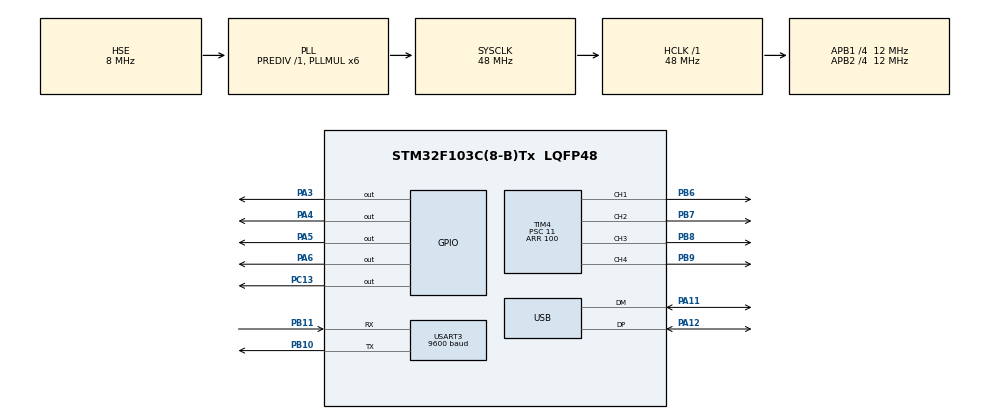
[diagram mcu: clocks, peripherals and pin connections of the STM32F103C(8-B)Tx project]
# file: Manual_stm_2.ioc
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Mcu.Family=STM32F1
Mcu.Name=STM32F103C(8-B)Tx
Mcu.Package=LQFP48
NVIC.PriorityGroup=NVIC_PRIORITYGROUP_4
NVIC.TIM3_IRQn=true\:0\:0\:false\:false\:true\:true\:true\:true
NVIC.USART3_IRQn=true\:0\:0\:false\:false\:true\:true\:true\:true
NVIC.USB_LP_CAN1_RX0_IRQn=true\:0\:0\:false\:false\:true\:false\:true\:true
PA11.Mode=Device
PA11.Signal=USB_DM
PA12.Mode=Device
PA12.Signal=USB_DP
PA13.Mode=Serial_Wire
PA13.Signal=SYS_JTMS-SWDIO
PA14.Mode=Serial_Wire
PA14.Signal=SYS_JTCK-SWCLK
PA3.Signal=GPIO_Output
PA4.Signal=GPIO_Output
PA5.Signal=GPIO_Output
PA6.Signal=GPIO_Output
PB10.Mode=Asynchronous
PB10.Signal=USART3_TX
PB11.Mode=Asynchronous
PB11.Signal=USART3_RX
PB6.Signal=S_TIM4_CH1
PB7.Signal=S_TIM4_CH2
PB8.Signal=S_TIM4_CH3
PB9.Signal=S_TIM4_CH4
PC13-TAMPER-RTC.Signal=GPIO_Output
PD0-OSC_IN.Mode=HSE-External-Oscillator
PD0-OSC_IN.Signal=RCC_OSC_IN
PD1-OSC_OUT.Mode=HSE-External-Oscillator
PD1-OSC_OUT.Signal=RCC_OSC_OUT
ProjectManager.HeapSize=0x200
ProjectManager.StackSize=0x400
ProjectManager.TargetToolchain=MDK-ARM V5.32
RCC.AHBFreq_Value=48000000
RCC.APB1CLKDivider=RCC_HCLK_DIV4
RCC.APB1Freq_Value=12000000
RCC.APB1TimFreq_Value=24000000
RCC.APB2CLKDivider=RCC_HCLK_DIV4
RCC.APB2Freq_Value=12000000
RCC.APB2TimFreq_Value=24000000
RCC.HCLKFreq_Value=48000000
RCC.PLLMUL=RCC_PLL_MUL6
RCC.PLLSourceVirtual=RCC_PLLSOURCE_HSE
RCC.SYSCLKFreq_VALUE=48000000
RCC.SYSCLKSource=RCC_SYSCLKSOURCE_PLLCLK
RCC.USBFreq_Value=48000000
SH.S_TIM4_CH1.0=TIM4_CH1,PWM Generation1 CH1
SH.S_TIM4_CH2.0=TIM4_CH2,PWM Generation2 CH2
SH.S_TIM4_CH3.0=TIM4_CH3,PWM Generation3 CH3
SH.S_TIM4_CH4.0=TIM4_CH4,PWM Generation4 CH4
TIM3.Period=4
TIM3.Prescaler=23999
TIM4.Channel-PWM\ Generation1\ CH1=TIM_CHANNEL_1
TIM4.Channel-PWM\ Generation2\ CH2=TIM_CHANNEL_2
TIM4.Channel-PWM\ Generation3\ CH3=TIM_CHANNEL_3
TIM4.Channel-PWM\ Generation4\ CH4=TIM_CHANNEL_4
TIM4.Period=100
TIM4.Prescaler=11
USART3.BaudRate=9600
USART3.VirtualMode=VM_ASYNC
USB_DEVICE.CLASS_NAME_FS=CDC
USB_DEVICE.VirtualMode=Cdc
USB_DEVICE.VirtualModeFS=Cdc_FS
VP_TIM3_VS_ClockSourceINT.Mode=Internal
VP_USB_DEVICE_VS_USB_DEVICE_CDC_FS.Mode=CDC_FS
board=custom

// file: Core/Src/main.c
/* USER CODE BEGIN Header */
/**
  ******************************************************************************
  * @file           : main.c
  * @brief          : Main program body
  ******************************************************************************
  * @attention
  *
  * Copyright (c) 2023 STMicroelectronics.
  * All rights reserved.
  *
  * This software is licensed under terms that can be found in the LICENSE file
  * in the root directory of this software component.
  * If no LICENSE file comes with this software, it is provided AS-IS.
  *
  ******************************************************************************
  */

	/* 	Author: Chi */
	/* 	Right motor:
				R_EN			- PA6
				L_EN			- PA5
				R_PWM			-	PB9
				L_PWM			- PB8
			Left motor:
				R_EN			- PA3
				L_EN			- PA4
				R_PWM			-	PB6
				L_PWM			- PB7
	*/
/* USER CODE END Header */
#include "main.h"
#include "usb_device.h"

/* USER CODE BEGIN Includes */
#include "usbd_cdc_if.h"
/* USER CODE END Includes */

/* USER CODE BEGIN PD */
#define MANUAL_MODE				0
#define AUTO_MODE					1
/* USER CODE END PD */

TIM_HandleTypeDef htim3;
TIM_HandleTypeDef htim4;

UART_HandleTypeDef huart3;

/* USER CODE BEGIN PV */
char Rx_indx, Rx_Buffer[20],Rx_data[2];
int ShootVel;
uint8_t RunSystem;
int 			mode											= 0;
uint8_t		EnablePickup_Auto					= 0;
uint8_t		EnablePickup_Manual				= 0;
uint8_t 	buffer[64];
/* USER CODE END PV */

void SystemClock_Config(void);
static void MX_GPIO_Init(void);
static void MX_TIM4_Init(void);
static void MX_USART3_UART_Init(void);
static void MX_TIM3_Init(void);

/* USER CODE BEGIN 0 */
void HAL_UART_RxCpltCallback(UART_HandleTypeDef *huart)
	{
		uint8_t i;
		if(huart->Instance == USART3) //uart3
		{
		switch(Rx_data[0]) {
						case 'a': // auto mode
							mode = AUTO_MODE;
								break;
						case 'm': // manual mode
							mode = MANUAL_MODE;
								break;
						case '7':
								RunSystem = 1;
                break;
						case '8':
								RunSystem = 0;
                break;
            case '5':
								EnablePickup_Manual = 1;
                break;
						case '6':
								EnablePickup_Manual = 0;
                break;

            default:
                break;
        }
				HAL_UART_Receive_IT(&huart3,(uint8_t*)Rx_data,1);
		}
	}

// Control
void MotorLeftRot(int32_t pwmSet)
{
	HAL_GPIO_WritePin(GPIOA, GPIO_PIN_3, 1);
	HAL_GPIO_WritePin(GPIOA, GPIO_PIN_4, 1);
	if (pwmSet > 0) {
		__HAL_TIM_SetCompare(&htim4, TIM_CHANNEL_1, pwmSet);
		__HAL_TIM_SetCompare(&htim4, TIM_CHANNEL_2, 0);
	}
	else if (pwmSet < 0) {
		__HAL_TIM_SetCompare(&htim4, TIM_CHANNEL_1,0);
		__HAL_TIM_SetCompare(&htim4, TIM_CHANNEL_2, -pwmSet);
	}
	else{
		HAL_GPIO_WritePin(GPIOA, GPIO_PIN_3, 0);
		HAL_GPIO_WritePin(GPIOA, GPIO_PIN_4, 0);
	}
}
void MotorRightRot(int32_t pwmSet)
{
	HAL_GPIO_WritePin(GPIOA, GPIO_PIN_5, 1);
	HAL_GPIO_WritePin(GPIOA, GPIO_PIN_6, 1);
	if (pwmSet > 0) {
		__HAL_TIM_SetCompare(&htim4, TIM_CHANNEL_3, pwmSet);
		__HAL_TIM_SetCompare(&htim4, TIM_CHANNEL_4, 0);
	}
	else if (pwmSet < 0) {
		__HAL_TIM_SetCompare(&htim4, TIM_CHANNEL_3,0);
		__HAL_TIM_SetCompare(&htim4, TIM_CHANNEL_4, -pwmSet);
	}
	else{
		HAL_GPIO_WritePin(GPIOA, GPIO_PIN_5, 0);
		HAL_GPIO_WritePin(GPIOA, GPIO_PIN_6, 0);
	}
}
/* USER CODE END 0 */

int main(void)
{

  /* MCU Configuration--------------------------------------------------------*/

  /* Reset of all peripherals, Initializes the Flash interface and the Systick. */
  HAL_Init();

  /* Configure the system clock */
  SystemClock_Config();

  /* Initialize all configured peripherals */
  MX_GPIO_Init();
  MX_TIM4_Init();
  MX_USART3_UART_Init();
  MX_TIM3_Init();
  MX_USB_DEVICE_Init();
  /* USER CODE BEGIN 2 */
	HAL_TIM_PWM_Start(&htim4, TIM_CHANNEL_1);	// start  timer 1
	HAL_TIM_PWM_Start(&htim4, TIM_CHANNEL_2);	// start 	timer 1
	HAL_TIM_PWM_Start(&htim4, TIM_CHANNEL_3);	// start  timer 1
	HAL_TIM_PWM_Start(&htim4, TIM_CHANNEL_4);	// start 	timer 1
	HAL_UART_Receive_IT(&huart3,(uint8_t*)Rx_data,1);
	HAL_TIM_Base_Start_IT(&htim3);						// start  timer 3
  /* USER CODE END 2 */

  /* Infinite loop */
  while (1)
  {

  }
}

void SystemClock_Config(void)
{
  RCC_OscInitTypeDef RCC_OscInitStruct = {0};
  RCC_ClkInitTypeDef RCC_ClkInitStruct = {0};
  RCC_PeriphCLKInitTypeDef PeriphClkInit = {0};

  /** Initializes the RCC Oscillators according to the specified parameters
  * in the RCC_OscInitTypeDef structure.
  */
  RCC_OscInitStruct.OscillatorType = RCC_OSCILLATORTYPE_HSE;
  RCC_OscInitStruct.HSEState = RCC_HSE_ON;
  RCC_OscInitStruct.HSEPredivValue = RCC_HSE_PREDIV_DIV1;
  RCC_OscInitStruct.HSIState = RCC_HSI_ON;
  RCC_OscInitStruct.PLL.PLLState = RCC_PLL_ON;
  RCC_OscInitStruct.PLL.PLLSource = RCC_PLLSOURCE_HSE;
  RCC_OscInitStruct.PLL.PLLMUL = RCC_PLL_MUL6;
  if (HAL_RCC_OscConfig(&RCC_OscInitStruct) != HAL_OK)
  {
    Error_Handler();
  }

  /** Initializes the CPU, AHB and APB buses clocks
  */
  RCC_ClkInitStruct.ClockType = RCC_CLOCKTYPE_HCLK|RCC_CLOCKTYPE_SYSCLK
                              |RCC_CLOCKTYPE_PCLK1|RCC_CLOCKTYPE_PCLK2;
  RCC_ClkInitStruct.SYSCLKSource = RCC_SYSCLKSOURCE_PLLCLK;
  RCC_ClkInitStruct.AHBCLKDivider = RCC_SYSCLK_DIV1;
  RCC_ClkInitStruct.APB1CLKDivider = RCC_HCLK_DIV4;
  RCC_ClkInitStruct.APB2CLKDivider = RCC_HCLK_DIV4;

  if (HAL_RCC_ClockConfig(&RCC_ClkInitStruct, FLASH_LATENCY_1) != HAL_OK)
  {
    Error_Handler();
  }
  PeriphClkInit.PeriphClockSelection = RCC_PERIPHCLK_USB;
  PeriphClkInit.UsbClockSelection = RCC_USBCLKSOURCE_PLL;
  if (HAL_RCCEx_PeriphCLKConfig(&PeriphClkInit) != HAL_OK)
  {
    Error_Handler();
  }
}

static void MX_TIM3_Init(void)
{

  TIM_ClockConfigTypeDef sClockSourceConfig = {0};
  TIM_MasterConfigTypeDef sMasterConfig = {0};

  htim3.Instance = TIM3;
  htim3.Init.Prescaler = 23999;
  htim3.Init.CounterMode = TIM_COUNTERMODE_UP;
  htim3.Init.Period = 4;
  htim3.Init.ClockDivision = TIM_CLOCKDIVISION_DIV1;
  htim3.Init.AutoReloadPreload = TIM_AUTORELOAD_PRELOAD_DISABLE;
  if (HAL_TIM_Base_Init(&htim3) != HAL_OK)
  {
    Error_Handler();
  }
  sClockSourceConfig.ClockSource = TIM_CLOCKSOURCE_INTERNAL;
  if (HAL_TIM_ConfigClockSource(&htim3, &sClockSourceConfig) != HAL_OK)
  {
    Error_Handler();
  }
  sMasterConfig.MasterOutputTrigger = TIM_TRGO_RESET;
  sMasterConfig.MasterSlaveMode = TIM_MASTERSLAVEMODE_DISABLE;
  if (HAL_TIMEx_MasterConfigSynchronization(&htim3, &sMasterConfig) != HAL_OK)
  {
    Error_Handler();
  }

}

static void MX_TIM4_Init(void)
{

  TIM_MasterConfigTypeDef sMasterConfig = {0};
  TIM_OC_InitTypeDef sConfigOC = {0};

  htim4.Instance = TIM4;
  htim4.Init.Prescaler = 11;
  htim4.Init.CounterMode = TIM_COUNTERMODE_UP;
  htim4.Init.Period = 100;
  htim4.Init.ClockDivision = TIM_CLOCKDIVISION_DIV1;
  htim4.Init.AutoReloadPreload = TIM_AUTORELOAD_PRELOAD_DISABLE;
  if (HAL_TIM_PWM_Init(&htim4) != HAL_OK)
  {
    Error_Handler();
  }
  sMasterConfig.MasterOutputTrigger = TIM_TRGO_RESET;
  sMasterConfig.MasterSlaveMode = TIM_MASTERSLAVEMODE_DISABLE;
  if (HAL_TIMEx_MasterConfigSynchronization(&htim4, &sMasterConfig) != HAL_OK)
  {
    Error_Handler();
  }
  sConfigOC.OCMode = TIM_OCMODE_PWM1;
  sConfigOC.Pulse = 0;
  sConfigOC.OCPolarity = TIM_OCPOLARITY_HIGH;
  sConfigOC.OCFastMode = TIM_OCFAST_DISABLE;
  if (HAL_TIM_PWM_ConfigChannel(&htim4, &sConfigOC, TIM_CHANNEL_1) != HAL_OK)
  {
    Error_Handler();
  }
  if (HAL_TIM_PWM_ConfigChannel(&htim4, &sConfigOC, TIM_CHANNEL_2) != HAL_OK)
  {
    Error_Handler();
  }
  if (HAL_TIM_PWM_ConfigChannel(&htim4, &sConfigOC, TIM_CHANNEL_3) != HAL_OK)
  {
    Error_Handler();
  }
  if (HAL_TIM_PWM_ConfigChannel(&htim4, &sConfigOC, TIM_CHANNEL_4) != HAL_OK)
  {
    Error_Handler();
  }
  HAL_TIM_MspPostInit(&htim4);

}

static void MX_USART3_UART_Init(void)
{

  huart3.Instance = USART3;
  huart3.Init.BaudRate = 9600;
  huart3.Init.WordLength = UART_WORDLENGTH_8B;
  huart3.Init.StopBits = UART_STOPBITS_1;
  huart3.Init.Parity = UART_PARITY_NONE;
  huart3.Init.Mode = UART_MODE_TX_RX;
  huart3.Init.HwFlowCtl = UART_HWCONTROL_NONE;
  huart3.Init.OverSampling = UART_OVERSAMPLING_16;
  if (HAL_UART_Init(&huart3) != HAL_OK)
  {
    Error_Handler();
  }

}

static void MX_GPIO_Init(void)
{
  GPIO_InitTypeDef GPIO_InitStruct = {0};

  /* GPIO Ports Clock Enable */
  __HAL_RCC_GPIOC_CLK_ENABLE();
  __HAL_RCC_GPIOD_CLK_ENABLE();
  __HAL_RCC_GPIOA_CLK_ENABLE();
  __HAL_RCC_GPIOB_CLK_ENABLE();

  /*Configure GPIO pin Output Level */
  HAL_GPIO_WritePin(GPIOC, GPIO_PIN_13, GPIO_PIN_RESET);

  /*Configure GPIO pin Output Level */
  HAL_GPIO_WritePin(GPIOA, GPIO_PIN_3|GPIO_PIN_4|GPIO_PIN_5|GPIO_PIN_6, GPIO_PIN_RESET);

  /*Configure GPIO pin : PC13 */
  GPIO_InitStruct.Pin = GPIO_PIN_13;
  GPIO_InitStruct.Mode = GPIO_MODE_OUTPUT_PP;
  GPIO_InitStruct.Pull = GPIO_NOPULL;
  GPIO_InitStruct.Speed = GPIO_SPEED_FREQ_LOW;
  HAL_GPIO_Init(GPIOC, &GPIO_InitStruct);

  /*Configure GPIO pins : PA3 PA4 PA5 PA6 */
  GPIO_InitStruct.Pin = GPIO_PIN_3|GPIO_PIN_4|GPIO_PIN_5|GPIO_PIN_6;
  GPIO_InitStruct.Mode = GPIO_MODE_OUTPUT_PP;
  GPIO_InitStruct.Pull = GPIO_NOPULL;
  GPIO_InitStruct.Speed = GPIO_SPEED_FREQ_LOW;
  HAL_GPIO_Init(GPIOA, &GPIO_InitStruct);

}

/* USER CODE BEGIN 4 */
/* ====================================================================== Timer Interrupt ====================================================================== */
void HAL_TIM_PeriodElapsedCallback(TIM_HandleTypeDef *htim) {

	if(htim->Instance==TIM3)																												/* Ngat timer 3: 5ms */
	{
			if (RunSystem == 1) {
				if ((mode == AUTO_MODE)&&(EnablePickup_Auto ==1)){
					MotorLeftRot(20);
					MotorRightRot(20);
				}
				else if ((mode == MANUAL_MODE)&&(EnablePickup_Manual == 1)){
					MotorLeftRot(20);
					MotorRightRot(20);
				}
				else{
				MotorLeftRot(0);
				MotorRightRot(0);
				}
			}
			else{
				MotorLeftRot(0);
				MotorRightRot(0);
			}
	return;
	}
}
/* ====================================================================== End Timer Interrupt ====================================================================== */
/* USER CODE END 4 */

void Error_Handler(void)
{
  __disable_irq();
  while (1)
  {
  }
}
